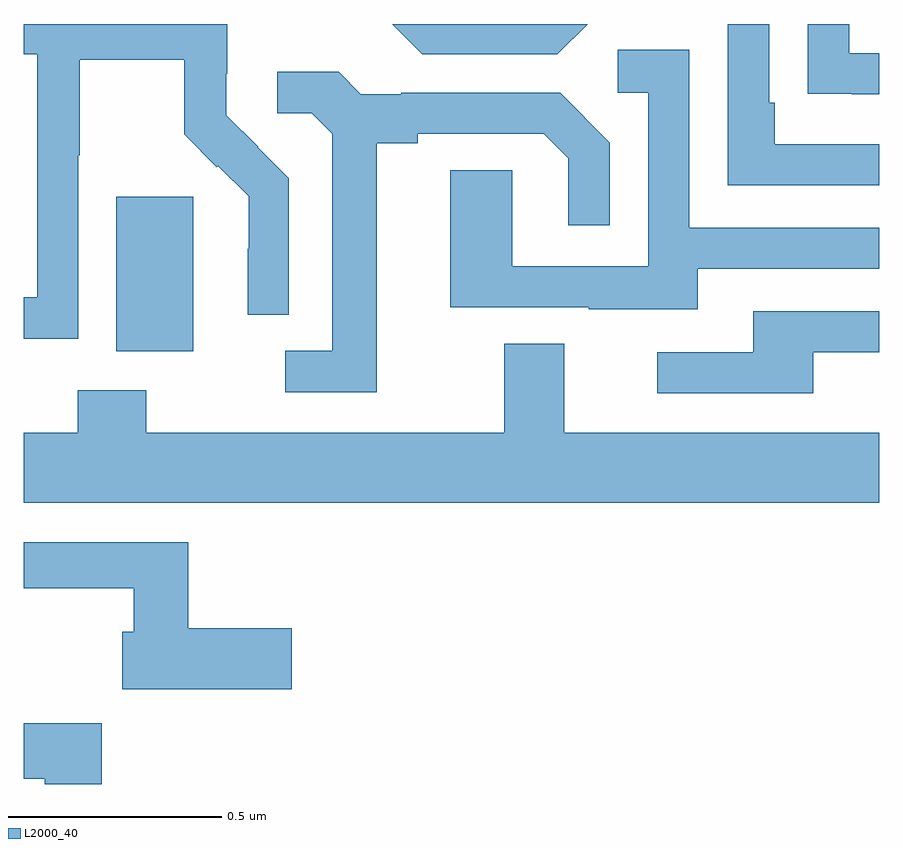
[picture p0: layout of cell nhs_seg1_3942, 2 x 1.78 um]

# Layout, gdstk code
import gdstk
lib = gdstk.Library(unit=1e-6, precision=1e-09)
def R(c, l, rs):  # rectangles x0, y0, x1, y1
    for r in rs: c.add(gdstk.rectangle(r[:2], r[2:], *l))
def P(c, l, *ps):  # polygons
    for p in ps: c.add(gdstk.Polygon(p, *l))
L2000_40 = (2000, 40)

nhs_seg1_3942 = lib.new_cell('nhs_seg1_3942')
R(nhs_seg1_3942, L2000_40, [(160.217,537.434,160.396,537.795)])
P(nhs_seg1_3942, L2000_40, [(160.128,537.892),(160.131,537.892),(160.131,538.116),(160.375,538.116),(160.375,537.941),(160.452,537.864),(160.455,537.867),(160.526,537.797),(160.526,537.674),(160.524,537.674),(160.524,537.52),(160.62,537.52),(160.62,537.838),(160.547,537.911),(160.548,537.912),(160.474,537.986),(160.474,538.083),(160.476,538.083),(160.476,538.199),(160,538.199),(160,538.128),(160.032,538.128),(160.032,537.561),(160,537.561),(160,537.463),(160.128,537.463)],
  [(161.318,538.199),(160.861,538.199),(160.932,538.128),(161.247,538.128)],
  [(162,537.918),(161.755,537.918),(161.755,538.015),(161.742,538.015),(161.742,538.199),(161.646,538.199),(161.646,537.822),(162,537.822)],
  [(162,538.131),(161.929,538.131),(161.929,538.199),(161.833,538.199),(161.833,538.036),(161.935,538.036),(161.935,538.035),(162,538.035)],
  [(161.575,537.627),(162,537.627),(162,537.723),(161.556,537.723),(161.556,538.139),(161.388,538.139),(161.388,538.038),(161.46,538.038),(161.46,537.633),(161.142,537.633),(161.142,537.857),(160.997,537.857),(160.997,537.537),(161.321,537.537),(161.321,537.533),(161.575,537.533)],
  [(160.825,537.92),(160.921,537.92),(160.921,537.942),(161.216,537.942),(161.273,537.885),(161.273,537.729),(161.37,537.729),(161.37,537.922),(161.254,538.038),(160.882,538.038),(160.882,538.035),(160.788,538.035),(160.736,538.087),(160.593,538.087),(160.593,537.99),(160.674,537.99),(160.721,537.943),(160.721,537.435),(160.611,537.435),(160.611,537.339),(160.825,537.339)],
  [(161.845,537.432),(162,537.432),(162,537.528),(161.705,537.528),(161.705,537.432),(161.481,537.432),(161.481,537.336),(161.845,537.336)],
  [(162,537.244),(161.263,537.244),(161.263,537.452),(161.123,537.452),(161.123,537.244),(160.287,537.244),(160.287,537.343),(160.127,537.343),(160.127,537.244),(160,537.244),(160,537.08),(162,537.08)],
  [(160.627,536.787),(160.385,536.787),(160.385,536.988),(160,536.988),(160,536.88),(160.257,536.88),(160.257,536.779),(160.231,536.779),(160.231,536.645),(160.627,536.645)],
  [(160.183,536.565),(160,536.565),(160,536.435),(160.05,536.435),(160.05,536.423),(160.183,536.423)])

lib.write_gds('nhs_seg1_3942.gds')
